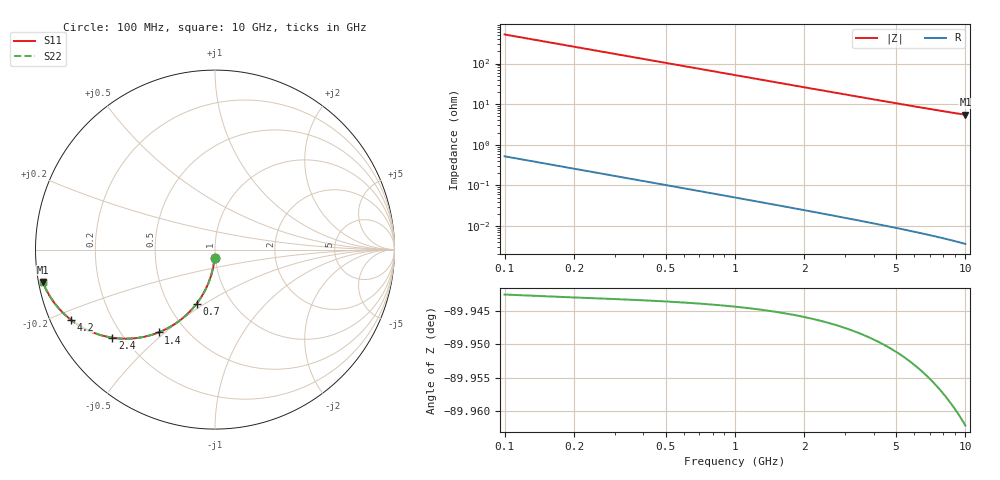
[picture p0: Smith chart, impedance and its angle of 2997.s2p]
# Hz S RI R 50.00
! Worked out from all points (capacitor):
!   100 points, 100 MHz to 10 GHz, reference 50 ohm
!   read as one part in shunt: C = 3.07 pF near 100 MHz
!   lowest |Z| = 5.47 ohm at 10 GHz (marker M1)
!   S11 on the Smith chart (normalised r, x): 100 MHz: 0.99, -0.10; 700 MHz: 0.69, -0.46; 1.4 GHz: 0.36, -0.48; 2.4 GHz: 0.16, -0.36; 4.2 GHz: 0.06, -0.23; 10 GHz: 0.01, -0.09
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1e8  -0.0023 -0.048  0.9976 -0.0483  0.9976 -0.0483  -0.0023 -0.048
2e8  -0.00924 -0.0953  0.9906 -0.0958  0.9906 -0.0958  -0.00924 -0.0953
3e8  -0.0206 -0.1412  0.9793 -0.1421  0.9793 -0.1421  -0.0206 -0.1412
4e8  -0.036 -0.1853  0.9639 -0.1865  0.9639 -0.1865  -0.036 -0.1853
5e8  -0.0551 -0.2271  0.9448 -0.2285  0.9448 -0.2285  -0.0551 -0.2271
6e8  -0.0774 -0.266  0.9224 -0.2677  0.9224 -0.2677  -0.0774 -0.266
7e8  -0.1025 -0.3018  0.8974 -0.3039  0.8974 -0.3039  -0.1025 -0.3018
8e8  -0.1297 -0.3344  0.8701 -0.3368  0.8701 -0.3368  -0.1297 -0.3344
1e9  -0.1889 -0.3895  0.811 -0.3924  0.811 -0.3924  -0.1889 -0.3895
1.2e9  -0.2511 -0.4314  0.7488 -0.4349  0.7488 -0.4349  -0.2511 -0.4314
1.4e9  -0.3133 -0.4613  0.6866 -0.4654  0.6866 -0.4654  -0.3133 -0.4613
1.8e9  -0.4298 -0.4919  0.57 -0.4972  0.57 -0.4972  -0.4298 -0.4919
2.1e9  -0.5064 -0.4964  0.4934 -0.5025  0.4934 -0.5025  -0.5064 -0.4964
2.4e9  -0.5727 -0.4906  0.4271 -0.4977  0.4271 -0.4977  -0.5727 -0.4906
2.9e9  -0.6619 -0.4683  0.338 -0.4768  0.338 -0.4768  -0.6619 -0.4683
3.4e9  -0.7291 -0.4388  0.2707 -0.4488  0.2707 -0.4488  -0.7291 -0.4388
4.2e9  -0.8044 -0.3899  0.1954 -0.4023  0.1954 -0.4023  -0.8044 -0.3899
5.1e9  -0.8586 -0.3402  0.1411 -0.3553  0.1411 -0.3553  -0.8586 -0.3402
5.8e9  -0.8873 -0.3069  0.1124 -0.3242  0.1124 -0.3242  -0.8873 -0.3069
6.7e9  -0.9133 -0.2706  0.0863 -0.2906  0.0863 -0.2906  -0.9133 -0.2706
8.4e9  -0.9434 -0.2174  0.0561 -0.2427  0.0561 -0.2427  -0.9434 -0.2174
1e10  -0.9597 -0.1802  0.0397 -0.2107  0.0397 -0.2107  -0.9597 -0.1802
